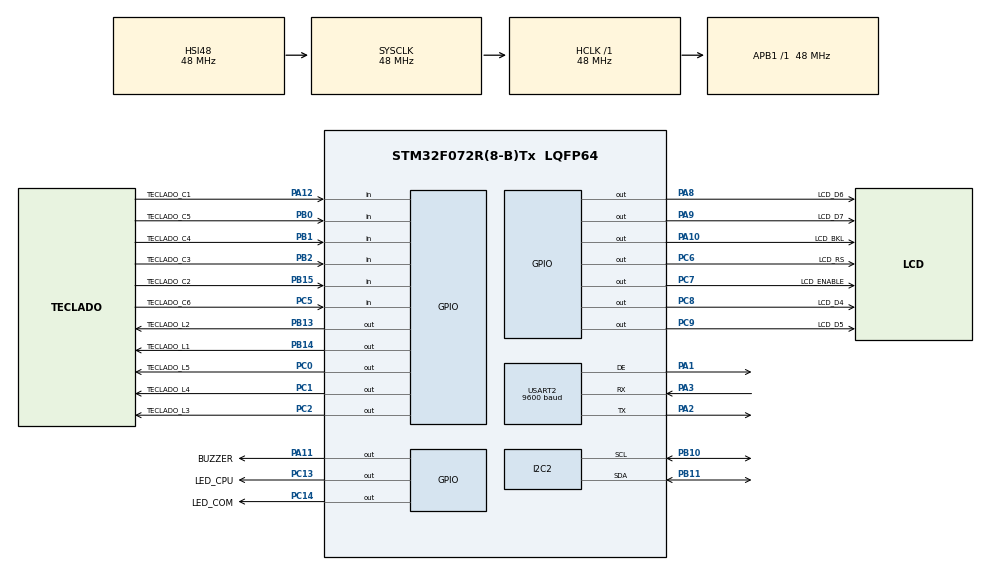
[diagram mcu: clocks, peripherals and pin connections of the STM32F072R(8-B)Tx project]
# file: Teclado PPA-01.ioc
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I2C2.Timing=0x20303E5D
IWDG.Prescaler=IWDG_PRESCALER_64
Mcu.Family=STM32F0
Mcu.Name=STM32F072R(8-B)Tx
Mcu.Package=LQFP64
NVIC.TIM3_IRQn=true\:0\:0\:false\:false\:true\:true\:true\:true
NVIC.USART2_IRQn=true\:0\:0\:false\:false\:true\:true\:true\:true
PA1.Mode=Hardware Flow Control (RS485)
PA1.Signal=USART2_DE
PA10.GPIO_Label=LCD_BKL
PA10.Signal=GPIO_Output
PA11.GPIO_Label=BUZZER
PA11.Signal=GPIO_Output
PA12.GPIO_Label=TECLADO_C1
PA12.Signal=GPIO_Input
PA13.Mode=Serial_Wire
PA13.Signal=SYS_SWDIO
PA14.Mode=Serial_Wire
PA14.Signal=SYS_SWCLK
PA2.Mode=Asynchronous
PA2.Signal=USART2_TX
PA3.Mode=Asynchronous
PA3.Signal=USART2_RX
PA8.GPIO_Label=LCD_D6
PA8.Signal=GPIO_Output
PA9.GPIO_Label=LCD_D7
PA9.Signal=GPIO_Output
PB0.GPIO_Label=TECLADO_C5
PB0.Signal=GPIO_Input
PB1.GPIO_Label=TECLADO_C4
PB1.Signal=GPIO_Input
PB10.Mode=I2C
PB10.Signal=I2C2_SCL
PB11.Mode=I2C
PB11.Signal=I2C2_SDA
PB13.GPIO_Label=TECLADO_L2
PB13.Signal=GPIO_Output
PB14.GPIO_Label=TECLADO_L1
PB14.Signal=GPIO_Output
PB15.GPIO_Label=TECLADO_C2
PB15.Signal=GPIO_Input
PB2.GPIO_Label=TECLADO_C3
PB2.Signal=GPIO_Input
PC0.GPIO_Label=TECLADO_L5
PC0.Signal=GPIO_Output
PC1.GPIO_Label=TECLADO_L4
PC1.Signal=GPIO_Output
PC13.GPIO_Label=LED_CPU
PC13.Signal=GPIO_Output
PC14-OSC32_IN.GPIO_Label=LED_COM
PC14-OSC32_IN.Signal=GPIO_Output
PC2.GPIO_Label=TECLADO_L3
PC2.Signal=GPIO_Output
PC5.GPIO_Label=TECLADO_C6
PC5.Signal=GPIO_Input
PC6.GPIO_Label=LCD_RS
PC6.Signal=GPIO_Output
PC7.GPIO_Label=LCD_ENABLE
PC7.Signal=GPIO_Output
PC8.GPIO_Label=LCD_D4
PC8.Signal=GPIO_Output
PC9.GPIO_Label=LCD_D5
PC9.Signal=GPIO_Output
ProjectManager.HeapSize=0x200
ProjectManager.StackSize=0x400
ProjectManager.TargetToolchain=STM32CubeIDE
RCC.AHBFreq_Value=48000000
RCC.APB1Freq_Value=48000000
RCC.APB1TimFreq_Value=48000000
RCC.HCLKFreq_Value=48000000
RCC.SYSCLKFreq_VALUE=48000000
RCC.SYSCLKSource=RCC_SYSCLKSOURCE_HSI48
TIM2.Prescaler=48-1
TIM3.Period=10-1
TIM3.Prescaler=480-1
USART2.BaudRate=9600
USART2.VirtualMode-Asynchronous=VM_ASYNC
USART2.VirtualMode-Hardware\ Flow\ Control\ (RS485)=VM_ASYNC
VP_IWDG_VS_IWDG.Mode=IWDG_Activate
VP_TIM2_VS_ClockSourceINT.Mode=Internal
VP_TIM3_VS_ClockSourceINT.Mode=Internal
board=custom

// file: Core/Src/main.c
/* USER CODE BEGIN Header */
/**
  ******************************************************************************
  * @file           : main.c
  * @brief          : Main program body
  ******************************************************************************
  * @attention
  *
  * Copyright (c) 2025 STMicroelectronics.
  * All rights reserved.
  *
  * This software is licensed under terms that can be found in the LICENSE file
  * in the root directory of this software component.
  * If no LICENSE file comes with this software, it is provided AS-IS.
  *
  ******************************************************************************
  */
/* USER CODE END Header */
#include "main.h"

/* USER CODE BEGIN Includes */
#include "global.h"
#include "string.h"
/* USER CODE END Includes */

I2C_HandleTypeDef hi2c2;

IWDG_HandleTypeDef hiwdg;

TIM_HandleTypeDef htim2;
TIM_HandleTypeDef htim3;

UART_HandleTypeDef huart2;

/* USER CODE BEGIN PV */
CronometroTypeDef
	cronometro,
	setpointCronometro;

uint8_t
	flagBotaoProgramacao = false,
	flagBotao5Min = false,
	flagBotao20Min = false,
	flagBotaoFaltaA = false,
	flagBotaoPontoA = false,
	flagBotao2PontosA = false,
	flagBotaoProgrRegr = false,
	flagBotao10Min = false,
	flagBotaoZeraTudo = false,
	flagBotaoRemoveFaltaA = false,
	flagBotaoRemovePontoA = false,
	flagBotao3PontosA = false,
	flagBotaoTempoA = false,
	flagBotaoCampainha = false,
	flagBotaoSoltaCronometro = false,
	flagBotaoTempoB = false,
	flagBotaoPeriodo = false,
	flagBotaoParaCronometro = false,
	flagBotao1Min = false,
	flagBotao1Seg = false,
	flagBotaoZeraFalta = false,
	flagBotaoFaltaB = false,
	flagBotaoPontoB = false,
	flagBotao2PontosB = false,
	flagBotaoRemove1Min = false,
	flagBotaoRemove1Seg = false,
	flagBotaoZeraCronometro = false,
	flagBotaoRemoveFaltaB = false,
	flagBotaoRemovePontoB = false,
	flagBotao3PontosB = false,

	flagLedCOM = false,

	flagBuzzer = false,
	flagCronometro = false,

	flagPacoteRS485 = false;

uint8_t
	tipoCronometro = PROGRESSIVO,

	contadorRS485Buffer = 0;

char
	rs485DataIn = 0;

uint16_t
	pontosEquipeA = 0,
	pontosEquipeB = 0,

	pressAndHoldProgramacao = 0,
	pressAndHoldZeraFaltas = 0,
	pressAndHoldZeraCronometro = 0,
	pressAndHoldZeraTudo = 0,
	pressAndHoldPeriodo = 0;

char
	rs485Buffer[TAMANHO_RS485_BUFFER],
	rs485EnviaBuffer[TAMANHO_RS485_BUFFER];
/* USER CODE END PV */

void SystemClock_Config(void);
static void MX_GPIO_Init(void);
static void MX_IWDG_Init(void);
static void MX_TIM2_Init(void);
static void MX_TIM3_Init(void);
static void MX_USART2_UART_Init(void);
static void MX_I2C2_Init(void);

/* USER CODE BEGIN 0 */
void HAL_TIM_PeriodElapsedCallback(TIM_HandleTypeDef *htim) {
	if(htim == &htim3) {
		schedulerEngine();
	}
}

void delayMicro(uint32_t tempo) {
	__HAL_TIM_SET_COUNTER(&htim2, 0);
	while(__HAL_TIM_GET_COUNTER(&htim2) < tempo) {
	}
}

void reiniciaWatchDog() {
	HAL_IWDG_Refresh(&hiwdg);
}

void HAL_UART_RxCpltCallback(UART_HandleTypeDef *huart) {
	if(huart-> Instance==USART2) { // RS485
		if(rs485DataIn == 0x00) {
			return;
		}

		rs485Buffer[contadorRS485Buffer] = rs485DataIn;
		contadorRS485Buffer ++;

		if(contadorRS485Buffer >= TAMANHO_RS485_BUFFER) {
			limpaRS485Buffer();
		}

		if(rs485DataIn == 0x0A) {
			flagPacoteRS485 = true;
		}
	}

}
/* USER CODE END 0 */

int main(void)
{

  /* MCU Configuration--------------------------------------------------------*/

  /* Reset of all peripherals, Initializes the Flash interface and the Systick. */
  HAL_Init();

  /* Configure the system clock */
  SystemClock_Config();

  /* Initialize all configured peripherals */
  MX_GPIO_Init();
  MX_IWDG_Init();
  MX_TIM2_Init();
  MX_TIM3_Init();
  MX_USART2_UART_Init();
  MX_I2C2_Init();
  /* USER CODE BEGIN 2 */
  HAL_TIM_Base_Start(&htim2); //Timer do delay us
  HAL_TIM_Base_Start_IT(&htim3); //Timer do Scheduller

  verificaEeprom();
  readEeprom();

  inicializaLcd();
  telaInicial();
  telaOperacao();

  limpaRS485Buffer();

  //HAL_UART_Receive_DMA(&huart2, &rs485DataIn, 1);

  /* USER CODE END 2 */

  /* Infinite loop */
  /* USER CODE BEGIN WHILE */
  while (1)
  {
	  comandosTeclado();
	  menuConfiguracoes();
	  protocoloRS485();
    /* USER CODE END WHILE */

    /* USER CODE BEGIN 3 */
	  HAL_UART_Receive_IT(&huart2, &rs485DataIn, 1);
  }
  /* USER CODE END 3 */
}

void SystemClock_Config(void)
{
  RCC_OscInitTypeDef RCC_OscInitStruct = {0};
  RCC_ClkInitTypeDef RCC_ClkInitStruct = {0};
  RCC_PeriphCLKInitTypeDef PeriphClkInit = {0};

  /** Initializes the RCC Oscillators according to the specified parameters
  * in the RCC_OscInitTypeDef structure.
  */
  RCC_OscInitStruct.OscillatorType = RCC_OSCILLATORTYPE_HSI48|RCC_OSCILLATORTYPE_LSI;
  RCC_OscInitStruct.HSI48State = RCC_HSI48_ON;
  RCC_OscInitStruct.LSIState = RCC_LSI_ON;
  RCC_OscInitStruct.PLL.PLLState = RCC_PLL_NONE;
  if (HAL_RCC_OscConfig(&RCC_OscInitStruct) != HAL_OK)
  {
    Error_Handler();
  }

  /** Initializes the CPU, AHB and APB buses clocks
  */
  RCC_ClkInitStruct.ClockType = RCC_CLOCKTYPE_HCLK|RCC_CLOCKTYPE_SYSCLK
                              |RCC_CLOCKTYPE_PCLK1;
  RCC_ClkInitStruct.SYSCLKSource = RCC_SYSCLKSOURCE_HSI48;
  RCC_ClkInitStruct.AHBCLKDivider = RCC_SYSCLK_DIV1;
  RCC_ClkInitStruct.APB1CLKDivider = RCC_HCLK_DIV1;

  if (HAL_RCC_ClockConfig(&RCC_ClkInitStruct, FLASH_LATENCY_1) != HAL_OK)
  {
    Error_Handler();
  }
  PeriphClkInit.PeriphClockSelection = RCC_PERIPHCLK_USART2;
  PeriphClkInit.Usart2ClockSelection = RCC_USART2CLKSOURCE_PCLK1;
  if (HAL_RCCEx_PeriphCLKConfig(&PeriphClkInit) != HAL_OK)
  {
    Error_Handler();
  }
}

static void MX_I2C2_Init(void)
{

  hi2c2.Instance = I2C2;
  hi2c2.Init.Timing = 0x20303E5D;
  hi2c2.Init.OwnAddress1 = 0;
  hi2c2.Init.AddressingMode = I2C_ADDRESSINGMODE_7BIT;
  hi2c2.Init.DualAddressMode = I2C_DUALADDRESS_DISABLE;
  hi2c2.Init.OwnAddress2 = 0;
  hi2c2.Init.OwnAddress2Masks = I2C_OA2_NOMASK;
  hi2c2.Init.GeneralCallMode = I2C_GENERALCALL_DISABLE;
  hi2c2.Init.NoStretchMode = I2C_NOSTRETCH_DISABLE;
  if (HAL_I2C_Init(&hi2c2) != HAL_OK)
  {
    Error_Handler();
  }

  /** Configure Analogue filter
  */
  if (HAL_I2CEx_ConfigAnalogFilter(&hi2c2, I2C_ANALOGFILTER_ENABLE) != HAL_OK)
  {
    Error_Handler();
  }

  /** Configure Digital filter
  */
  if (HAL_I2CEx_ConfigDigitalFilter(&hi2c2, 0) != HAL_OK)
  {
    Error_Handler();
  }

}

static void MX_IWDG_Init(void)
{

  hiwdg.Instance = IWDG;
  hiwdg.Init.Prescaler = IWDG_PRESCALER_64;
  hiwdg.Init.Window = 4095;
  hiwdg.Init.Reload = 4095;
  if (HAL_IWDG_Init(&hiwdg) != HAL_OK)
  {
    Error_Handler();
  }

}

static void MX_TIM2_Init(void)
{

  TIM_ClockConfigTypeDef sClockSourceConfig = {0};
  TIM_MasterConfigTypeDef sMasterConfig = {0};

  htim2.Instance = TIM2;
  htim2.Init.Prescaler = 48-1;
  htim2.Init.CounterMode = TIM_COUNTERMODE_UP;
  htim2.Init.Period = 4294967295;
  htim2.Init.ClockDivision = TIM_CLOCKDIVISION_DIV1;
  htim2.Init.AutoReloadPreload = TIM_AUTORELOAD_PRELOAD_DISABLE;
  if (HAL_TIM_Base_Init(&htim2) != HAL_OK)
  {
    Error_Handler();
  }
  sClockSourceConfig.ClockSource = TIM_CLOCKSOURCE_INTERNAL;
  if (HAL_TIM_ConfigClockSource(&htim2, &sClockSourceConfig) != HAL_OK)
  {
    Error_Handler();
  }
  sMasterConfig.MasterOutputTrigger = TIM_TRGO_RESET;
  sMasterConfig.MasterSlaveMode = TIM_MASTERSLAVEMODE_DISABLE;
  if (HAL_TIMEx_MasterConfigSynchronization(&htim2, &sMasterConfig) != HAL_OK)
  {
    Error_Handler();
  }

}

static void MX_TIM3_Init(void)
{

  TIM_ClockConfigTypeDef sClockSourceConfig = {0};
  TIM_MasterConfigTypeDef sMasterConfig = {0};

  htim3.Instance = TIM3;
  htim3.Init.Prescaler = 480-1;
  htim3.Init.CounterMode = TIM_COUNTERMODE_UP;
  htim3.Init.Period = 10-1;
  htim3.Init.ClockDivision = TIM_CLOCKDIVISION_DIV1;
  htim3.Init.AutoReloadPreload = TIM_AUTORELOAD_PRELOAD_DISABLE;
  if (HAL_TIM_Base_Init(&htim3) != HAL_OK)
  {
    Error_Handler();
  }
  sClockSourceConfig.ClockSource = TIM_CLOCKSOURCE_INTERNAL;
  if (HAL_TIM_ConfigClockSource(&htim3, &sClockSourceConfig) != HAL_OK)
  {
    Error_Handler();
  }
  sMasterConfig.MasterOutputTrigger = TIM_TRGO_RESET;
  sMasterConfig.MasterSlaveMode = TIM_MASTERSLAVEMODE_DISABLE;
  if (HAL_TIMEx_MasterConfigSynchronization(&htim3, &sMasterConfig) != HAL_OK)
  {
    Error_Handler();
  }

}

static void MX_USART2_UART_Init(void)
{

  huart2.Instance = USART2;
  huart2.Init.BaudRate = 9600;
  huart2.Init.WordLength = UART_WORDLENGTH_8B;
  huart2.Init.StopBits = UART_STOPBITS_1;
  huart2.Init.Parity = UART_PARITY_NONE;
  huart2.Init.Mode = UART_MODE_TX_RX;
  huart2.Init.HwFlowCtl = UART_HWCONTROL_NONE;
  huart2.Init.OverSampling = UART_OVERSAMPLING_16;
  huart2.Init.OneBitSampling = UART_ONE_BIT_SAMPLE_DISABLE;
  huart2.AdvancedInit.AdvFeatureInit = UART_ADVFEATURE_NO_INIT;
  if (HAL_RS485Ex_Init(&huart2, UART_DE_POLARITY_HIGH, 0, 0) != HAL_OK)
  {
    Error_Handler();
  }

}

static void MX_GPIO_Init(void)
{
  GPIO_InitTypeDef GPIO_InitStruct = {0};

  /* GPIO Ports Clock Enable */
  __HAL_RCC_GPIOC_CLK_ENABLE();
  __HAL_RCC_GPIOA_CLK_ENABLE();
  __HAL_RCC_GPIOB_CLK_ENABLE();

  /*Configure GPIO pin Output Level */
  HAL_GPIO_WritePin(GPIOC, LED_CPU_Pin|LED_COM_Pin|TECLADO_L5_Pin|TECLADO_L4_Pin
                          |TECLADO_L3_Pin|LCD_RS_Pin|LCD_ENABLE_Pin|LCD_D4_Pin
                          |LCD_D5_Pin, GPIO_PIN_RESET);

  /*Configure GPIO pin Output Level */
  HAL_GPIO_WritePin(GPIOB, TECLADO_L2_Pin|TECLADO_L1_Pin, GPIO_PIN_RESET);

  /*Configure GPIO pin Output Level */
  HAL_GPIO_WritePin(GPIOA, LCD_D6_Pin|LCD_D7_Pin|LCD_BKL_Pin|BUZZER_Pin, GPIO_PIN_RESET);

  /*Configure GPIO pins : LED_CPU_Pin LED_COM_Pin TECLADO_L5_Pin TECLADO_L4_Pin
                           TECLADO_L3_Pin LCD_RS_Pin LCD_ENABLE_Pin LCD_D4_Pin
                           LCD_D5_Pin */
  GPIO_InitStruct.Pin = LED_CPU_Pin|LED_COM_Pin|TECLADO_L5_Pin|TECLADO_L4_Pin
                          |TECLADO_L3_Pin|LCD_RS_Pin|LCD_ENABLE_Pin|LCD_D4_Pin
                          |LCD_D5_Pin;
  GPIO_InitStruct.Mode = GPIO_MODE_OUTPUT_PP;
  GPIO_InitStruct.Pull = GPIO_NOPULL;
  GPIO_InitStruct.Speed = GPIO_SPEED_FREQ_LOW;
  HAL_GPIO_Init(GPIOC, &GPIO_InitStruct);

  /*Configure GPIO pin : TECLADO_C6_Pin */
  GPIO_InitStruct.Pin = TECLADO_C6_Pin;
  GPIO_InitStruct.Mode = GPIO_MODE_INPUT;
  GPIO_InitStruct.Pull = GPIO_NOPULL;
  HAL_GPIO_Init(TECLADO_C6_GPIO_Port, &GPIO_InitStruct);

  /*Configure GPIO pins : TECLADO_C5_Pin TECLADO_C4_Pin TECLADO_C3_Pin TECLADO_C2_Pin */
  GPIO_InitStruct.Pin = TECLADO_C5_Pin|TECLADO_C4_Pin|TECLADO_C3_Pin|TECLADO_C2_Pin;
  GPIO_InitStruct.Mode = GPIO_MODE_INPUT;
  GPIO_InitStruct.Pull = GPIO_NOPULL;
  HAL_GPIO_Init(GPIOB, &GPIO_InitStruct);

  /*Configure GPIO pins : TECLADO_L2_Pin TECLADO_L1_Pin */
  GPIO_InitStruct.Pin = TECLADO_L2_Pin|TECLADO_L1_Pin;
  GPIO_InitStruct.Mode = GPIO_MODE_OUTPUT_PP;
  GPIO_InitStruct.Pull = GPIO_NOPULL;
  GPIO_InitStruct.Speed = GPIO_SPEED_FREQ_LOW;
  HAL_GPIO_Init(GPIOB, &GPIO_InitStruct);

  /*Configure GPIO pins : LCD_D6_Pin LCD_D7_Pin LCD_BKL_Pin BUZZER_Pin */
  GPIO_InitStruct.Pin = LCD_D6_Pin|LCD_D7_Pin|LCD_BKL_Pin|BUZZER_Pin;
  GPIO_InitStruct.Mode = GPIO_MODE_OUTPUT_PP;
  GPIO_InitStruct.Pull = GPIO_NOPULL;
  GPIO_InitStruct.Speed = GPIO_SPEED_FREQ_LOW;
  HAL_GPIO_Init(GPIOA, &GPIO_InitStruct);

  /*Configure GPIO pin : TECLADO_C1_Pin */
  GPIO_InitStruct.Pin = TECLADO_C1_Pin;
  GPIO_InitStruct.Mode = GPIO_MODE_INPUT;
  GPIO_InitStruct.Pull = GPIO_NOPULL;
  HAL_GPIO_Init(TECLADO_C1_GPIO_Port, &GPIO_InitStruct);

}

void Error_Handler(void)
{
  __disable_irq();
  while (1)
  {
  }
}
